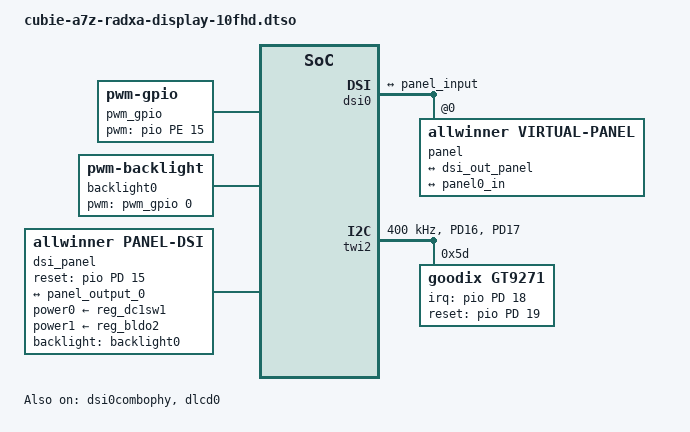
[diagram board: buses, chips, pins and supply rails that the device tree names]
/dts-v1/;
/plugin/;

#include <dt-bindings/gpio/gpio.h>
#include <dt-bindings/gpio/sun4i-gpio.h>
#include <dt-bindings/display/sunxi-lcd.h>
#include <dt-bindings/interrupt-controller/irq.h>

/ {
	metadata {
		title = "Enable Radxa Display 10FHD for Cubie A7Z V2.0+";
		compatible = "radxa,cubie-a7z";
		category = "display";
		exclusive = "dlcd0", "dsi0", "dsi0combophy", "PD18", "PD19", "PD16", "PD17", "PD21", "PE15";
		description = "Enable Radxa Display 10FHD for Cubie A7Z V2.0+";
	};
};

&{/} {

	pwm_gpio: pwm-gpio {
		compatible = "pwm-gpio";
		#pwm-cells = <3>;
		pwm-gpios = <&pio PE 15 GPIO_ACTIVE_HIGH>;
	};

	backlight0: backlight0 {
		compatible = "pwm-backlight";
		status = "okay";
		brightness-levels = <1 255>;
		num-interpolated-steps = <255>;
		default-brightness-level = <200>;
		pwms = <&pwm_gpio 0 25000 0>;
	};

	dsi_panel: dsi_panel@1 {
		compatible = "allwinner,panel-dsi";
		status = "okay";
		power-delay-ms = <10>;
		power0-supply = <&reg_dc1sw1>;
		power1-supply = <&reg_bldo2>;
		backlight = <&backlight0>;

		reset-num = <1>;
		reset-delay-ms = <20>;
		reset-gpios = <&pio PD 15 GPIO_ACTIVE_HIGH>;
		dsi,flags = <(MIPI_DSI_MODE_VIDEO)>;
		dsi,lanes = <4>;
		dsi,format = <0>;

		panel-init-sequence = [
			05 78 01 11
			05 00 01 29
		];

		panel-exit-sequence = [
			05 00 01 28
			05 00 01 10
		];

		disp_timings0: display-timings {
			native-mode = <&dsi1_timing0>;
			dsi1_timing0: timing0 {
				clock-frequency = <70000000>;
				hback-porch = <18>;
				hactive = <1200>;
				hfront-porch = <18>;
				hsync-len = <18>;
				vback-porch = <10>;
				vactive = <1920>;
				vfront-porch = <20>;
				vsync-len = <4>;
			};
		};

		port {
			panel0_in: endpoint@0 {
				reg = <0>;
				remote-endpoint = <&panel_output_0>;
			};
		};
	};
};

&dsi0combophy {
	status = "okay";
};

&dlcd0 {
	status = "okay";
};

&dsi0 {
	status = "okay";
	pinctrl-0 = <&dsi0_4lane_pins_a>;
	pinctrl-1 = <&dsi0_4lane_pins_b>;
	pinctrl-names = "active","sleep";

	ports {
		dsi0_out: port@1 {
			reg = <1>;
			dsi_out_panel: endpoint {
				remote-endpoint = <&panel_input>;
			};
		};
	};

	panel: panel@0 {
		compatible = "allwinner,virtual-panel";
		status = "okay";
		reg = <0>;
		ports {
			panel_in: port@0 {
				reg = <0>;
				panel_input: endpoint@0 {
					reg = <0>;
					remote-endpoint = <&dsi_out_panel>;
				};
			};
			panel_out: port@1 {
				reg = <1>;
				panel_output_0: endpoint@0 {
					reg = <0>;
					remote-endpoint = <&panel0_in>;
				};
			};
		};
	};
};

&twi2 {
	clock-frequency = <400000>;
	pinctrl-0 = <&twi2_pins_default>;
	pinctrl-1 = <&twi2_pins_sleep>;
	pinctrl-names = "default", "sleep";
	twi_drv_used = <1>;
	no_suspend = <1>;
	twi-supply = <&reg_dc1sw1>;
	status = "okay";

	gt9271@5d {
		compatible = "goodix,gt9271";
		reg = <0x5d>;
		pinctrl-names = "default";
		interrupt-parent = <&pio>;
		interrupts = <PD 18 IRQ_TYPE_LEVEL_HIGH>;
		irq-gpios = <&pio PD 18 GPIO_ACTIVE_HIGH>;
		reset-gpios = <&pio PD 19 GPIO_ACTIVE_HIGH>;
		status = "okay";
	};
};

&pio {
	twi2_pins_default: twi2@0 {
		pins = "PD16", "PD17";
		function = "twi2";
		drive-strength = <10>;
		bias-pull-up;
	};

	twi2_pins_sleep: twi2@1 {
		pins = "PD16", "PD17";
		function = "gpio_in";
	};
};
